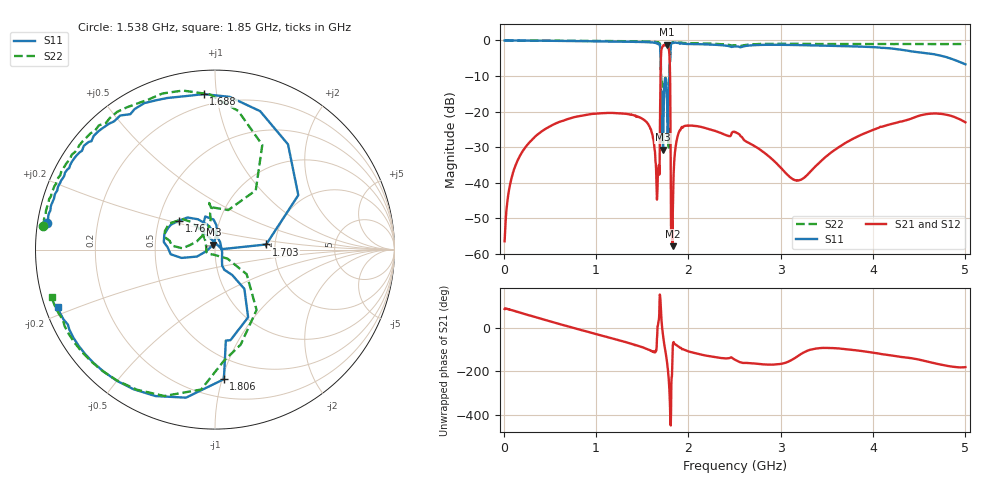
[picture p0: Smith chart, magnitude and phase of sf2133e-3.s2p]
# Hz S RI R 50
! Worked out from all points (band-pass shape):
!   1601 points, 10 MHz to 5 GHz, reference 50 ohm
!   highest |S21| = -1.17 dB at 1.766 GHz (marker M1); lowest = -57.9 dB at 1.828 GHz (marker M2)
!   |S21| within 3 dB of the highest: 1.704 GHz to 1.795 GHz (90.65 MHz wide, 5.18 % of centre)
!   lowest |S11| = -30.7 dB at 1.725 GHz (marker M3), VSWR 1.06, Z = 49.1 + j2.72 ohm
!   |S11| at or under -10 dB: 1.703 GHz to 1.795 GHz (91.97 MHz wide, 5.26 % of centre)
!   |S22| runs from -30.7 to 0.0 dB; largest |S21 - S12| = 0.0014
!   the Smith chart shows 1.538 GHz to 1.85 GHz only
!   S11 on the Smith chart (normalised r, x): 1.538 GHz: 0.03, +0.08; 1.688 GHz: 0.13, +0.92; 1.703 GHz: 1.79, +0.11; 1.76 GHz: 0.64, +0.22; 1.806 GHz: 0.33, -1.01; 1.85 GHz: 0.03, -0.18
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1e7  0.9996 -0.0214  0.000138 0.00149  0.000133 0.00148  0.9998 -0.0227
8.173125e7  0.9837 -0.1725  0.00189 0.0109  0.00193 0.0109  0.9821 -0.1802
2.158375e8  0.8947 -0.4385  0.0131 0.0258  0.0129 0.0257  0.885 -0.4574
8.427062e8  -0.1763 -0.9624  0.0854 -0.0181  0.0859 -0.0177  -0.2268 -0.9607
1.538188e9  -0.9369 0.1467  -0.00778 -0.0725  -0.00785 -0.0725  -0.9592 0.1316
1.634869e9  -0.7538 0.5425  -0.0106 -0.0269  -0.0107 -0.0269  -0.8165 0.4944
1.675412e9  -0.3925 0.8167  0.0141 0.00633  0.0141 0.00627  -0.5443 0.768
1.687888e9  -0.0626 0.8663  -0.00679 0.012  -0.00673 0.0119  -0.2928 0.8698
1.703481e9  0.2851 0.0285  0.1071 0.5795  0.1063 0.5783  0.2272 0.3301
1.725312e9  -0.00869 0.0277  0.6814 -0.4833  0.6814 -0.4827  -0.0377 0.1159
1.759619e9  -0.199 0.1621  -0.5549 -0.6577  -0.5553 -0.6574  -0.2175 0.1583
1.765856e9  -0.0945 0.1689  -0.743 -0.4603  -0.7425 -0.46  -0.1342 0.1546
1.78145e9  0.0389 -0.0582  -0.7355 0.3589  -0.7352 0.3587  -0.0487 -0.0135
1.8064e9  0.0496 -0.7221  0.0086 -0.0649  0.00871 -0.0647  -0.0769 -0.7796
1.828231e9  -0.7234 -0.5824  -0.000679 -0.00108  -0.000702 -0.0011  -0.7811 -0.5206
1.850062e9  -0.8771 -0.3223  0.00623 -0.0219  0.00626 -0.022  -0.9108 -0.2629
1.943625e9  -0.8831 0.1771  -0.00999 -0.0599  -0.00998 -0.0597  -0.8984 0.2068
2.505e9  -0.2439 0.7861  -0.0433 -0.028  -0.0432 -0.0277  -0.2856 0.8081
3.337706e9  0.6887 0.5022  -0.00252 -0.0149  -0.00243 -0.0148  0.6315 0.6313
4.170412e9  0.5851 -0.5119  -0.0385 -0.0528  -0.0385 -0.0529  0.8582 -0.242
4.647581e9  -0.1053 -0.6361  -0.0889 -0.0297  -0.0891 -0.0298  0.5682 -0.6843
5e9  -0.4621 0.0116  -0.0705 0.00109  -0.0704 0.00101  0.2065 -0.8665
